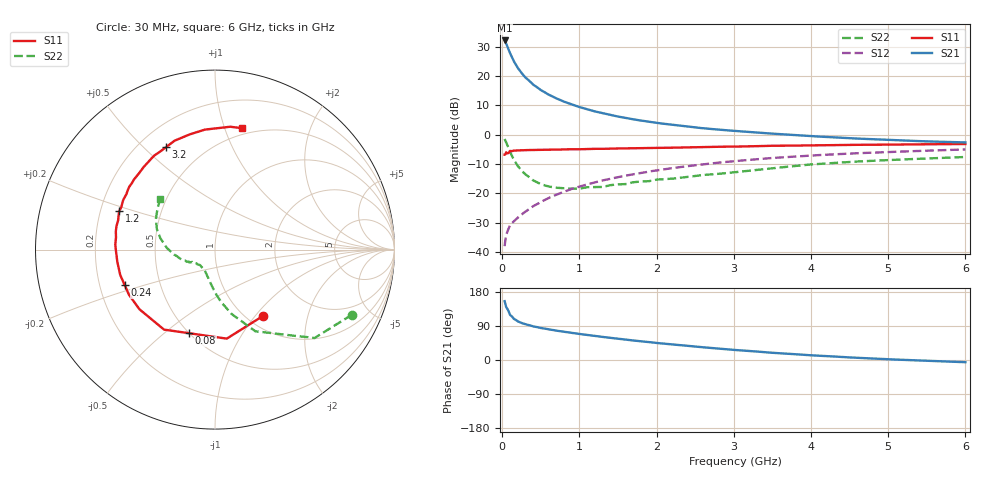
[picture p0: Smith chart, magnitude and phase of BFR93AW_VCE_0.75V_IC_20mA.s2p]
! Infineon Technologies  Discrete & RF Semiconductors
! BFR93AW
! VCE = 0.75 V,  IC =  20 mA
! Common Emitter S-Parameters:  Nov 2015
# GHz  S  MA  R  50
!  f  S11  S21  S12  S22
! GHz  MAG  ANG  MAG  ANG  MAG  ANG  MAG  ANG
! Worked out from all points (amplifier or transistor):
!   206 points, 30 MHz to 6 GHz, reference 50 ohm
!   highest |S21| = 32.1 dB at 30 MHz (marker M1)
!   |S21| within 3 dB of that: start of sweep to 80.11 MHz
!   unconditionally stable (mu >= 1): 466.1 MHz to 2.797 GHz
!   at 200 MHz: K = 0.74, MSG = 25.5 dB, |S12| = -28.3 dB
!   at 1.56 GHz: K = 1.07, MAG = 8.4 dB, |S12| = -14.2 dB
!   at 6 GHz: K = 0.99, MSG = 1.2 dB, |S12| = -5.0 dB
!   S11 on the Smith chart (normalised r, x): 30 MHz: 1.17, -1.10; 80 MHz: 0.50, -0.61; 240 MHz: 0.31, -0.17; 1.2 GHz: 0.28, +0.18; 3.2 GHz: 0.31, +0.59; 6 GHz: 0.44, +1.14
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0.03  0.4562 -54.2  40.28 155.3  0.0126 70.2  0.8441 -25.5
0.05  0.5004 -82.5  35.82 139.8  0.0194 62.5  0.7419 -41.6
0.08  0.4877 -107.2  28.54 129.3  0.0249 57.1  0.5902 -52.8
0.1  0.5285 -122.5  24.48 119.1  0.0286 54.6  0.5077 -63.7
0.15  0.5364 -141.7  17.67 108.6  0.0334 54.2  0.3717 -75.4
0.2  0.5413 -152.2  13.76 102.1  0.0385 54.8  0.2946 -83.3
0.24  0.5406 -158.5  11.69 98.6  0.0425 56.5  0.2528 -88.0
0.3  0.5467 -165.0  9.416 94.1  0.0488 59.6  0.2107 -93.9
0.4  0.5485 -173.0  7.125 88.7  0.0603 62.6  0.1664 -102.0
0.5  0.5514 -178.6  5.747 84.4  0.0711 64.2  0.1435 -110.0
0.6  0.5563 177.1  4.815 80.9  0.0832 65.8  0.1309 -115.6
0.7  0.5556 173.1  4.157 77.5  0.0948 66.2  0.1247 -121.0
0.8  0.5619 169.5  3.648 74.4  0.1065 66.3  0.1225 -127.9
1.04  0.566 162.2  2.851 67.7  0.135 65.8  0.1231 -136.5
1.2  0.5749 158.1  2.489 63.5  0.1539 65.0  0.1283 -141.2
1.6  0.5822 148.1  1.924 53.7  0.2007 61.9  0.144 -151.5
2.02  0.5972 138.7  1.576 44.6  0.2484 58.1  0.172 -157.0
3.1  0.629 117.4  1.136 25.3  0.3626 46.2  0.2355 -174.9
3.2  0.6327 115.6  1.111 23.8  0.372 45.0  0.2433 -176.8
4.1  0.6592 100.7  0.929 11.4  0.4486 34.5  0.3172 166.5
5.1  0.6788 87.5  0.805 1.1  0.5121 23.7  0.3747 151.0
6  0.6927 77.6  0.738 -5.8  0.5605 15.0  0.4168 137.0
